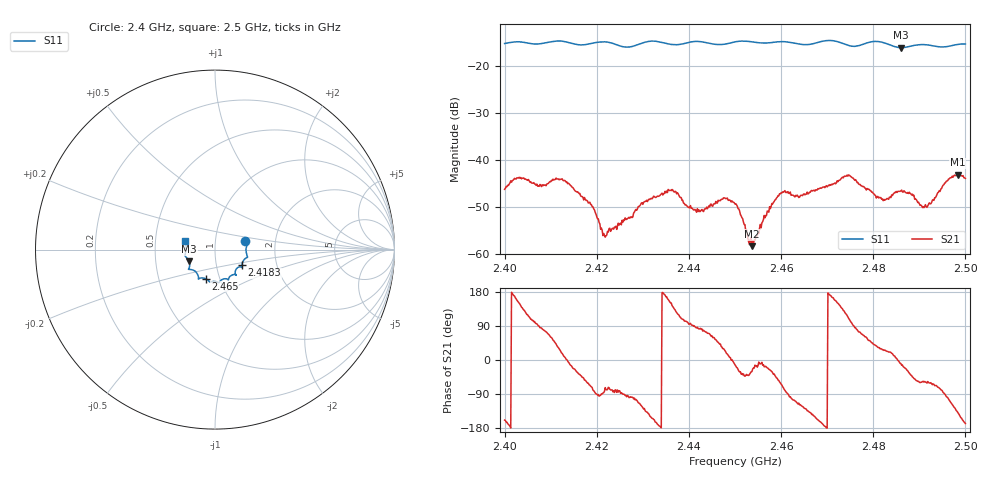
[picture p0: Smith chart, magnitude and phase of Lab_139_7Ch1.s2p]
# Hz S RI R 50
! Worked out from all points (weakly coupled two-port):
!   601 points, 2.4 GHz to 2.5 GHz, reference 50 ohm
!   highest |S21| = -43.12 dB at 2.4983 GHz (marker M1); lowest = -58.4 dB at 2.4537 GHz (marker M2)
!   lowest |S11| = -16.0 dB at 2.486 GHz (marker M3), VSWR 1.37, Z = 37.1 - j4.96 ohm
!   |S11| at or under -10 dB: start of sweep to end of sweep
!   S12 and S22 are empty: the file has one direction only
!   S11 on the Smith chart (normalised r, x): 2.4 GHz: 1.40, +0.13; 2.4183 GHz: 1.33, -0.24; 2.465 GHz: 0.86, -0.29; 2.5 GHz: 0.71, +0.07
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2.4e9  0.169 0.0458  -0.00453 -0.00177  0 0  0 0
2.402667e9  0.1796 0.0342  -0.00598 0.00244  0 0  0 0
2.407667e9  0.1737 -0.0118  0.00046 0.00546  0 0  0 0
2.412e9  0.1816 -0.0421  0.00558 0.00279  0 0  0 0
2.416667e9  0.1549 -0.0681  0.00302 -0.00274  0 0  0 0
2.418333e9  0.1502 -0.0866  0.00147 -0.00319  0 0  0 0
2.421833e9  0.1525 -0.1001  0.000442 -0.00144  0 0  0 0
2.433333e9  0.1168 -0.1411  -0.00405 -0.000616  0 0  0 0
2.436667e9  0.0931 -0.1426  -0.0034 0.00309  0 0  0 0
2.442e9  0.0739 -0.1688  0.000327 0.00279  0 0  0 0
2.447833e9  0.0365 -0.1687  0.00357 0.00162  0 0  0 0
2.45e9  0.0252 -0.1806  0.0033 -0.000747  0 0  0 0
2.453667e9  0.016 -0.182  0.00103 -0.000614  0 0  0 0
2.459833e9  -0.0273 -0.1813  0.00214 -0.0038  0 0  0 0
2.465e9  -0.0527 -0.1621  -0.00262 -0.00347  0 0  0 0
2.466667e9  -0.0713 -0.1575  -0.00383 -0.00278  0 0  0 0
2.474667e9  -0.0991 -0.1342  -0.00233 0.00652  0 0  0 0
2.483333e9  -0.1422 -0.096  0.00355 0.00136  0 0  0 0
2.486e9  -0.1438 -0.0652  0.00462 -0.00077  0 0  0 0
2.491167e9  -0.1671 -0.0327  0.00177 -0.00269  0 0  0 0
2.498333e9  -0.1669 0.0382  -0.00518 -0.00468  0 0  0 0
2.5e9  -0.1667 0.0471  -0.00622 -0.00134  0 0  0 0
